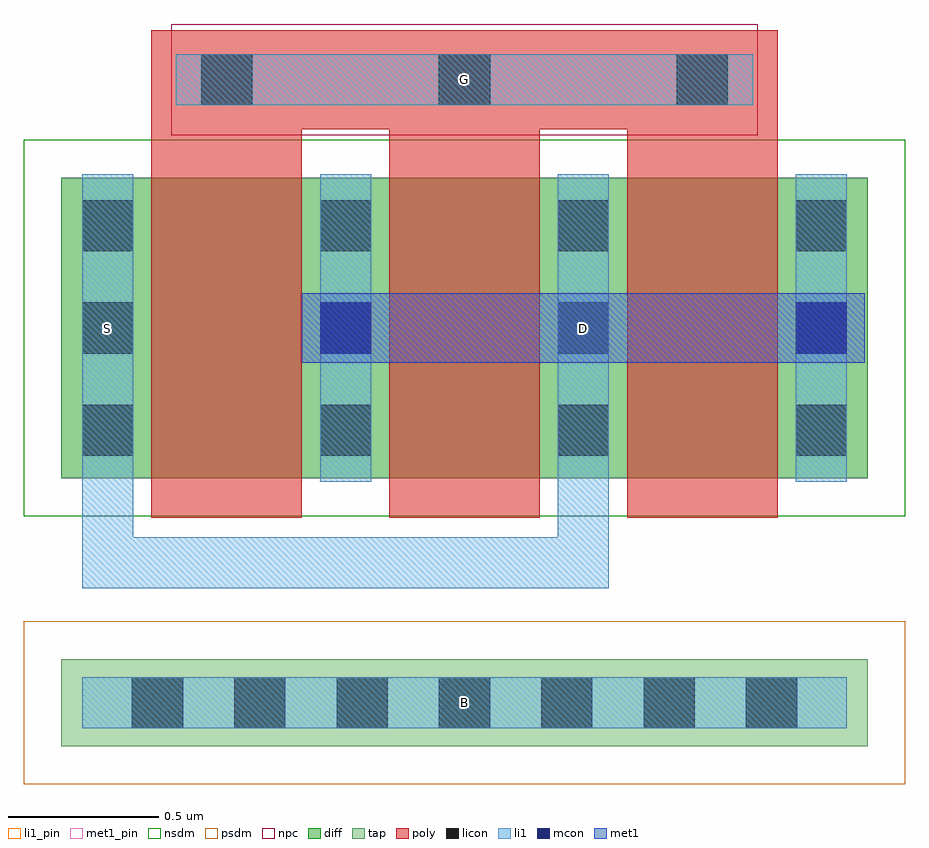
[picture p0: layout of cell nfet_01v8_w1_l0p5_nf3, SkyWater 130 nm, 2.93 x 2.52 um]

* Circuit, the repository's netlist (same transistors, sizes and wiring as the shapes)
.SUBCKT nfet_01v8_w1_l0p5_nf3 D G S B
M0 D G S B nfet_01v8 w=1 l=0.5
M1 D G S B nfet_01v8 w=1 l=0.5
M2 D G S B nfet_01v8 w=1 l=0.5
.ENDS

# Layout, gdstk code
import gdstk
lib = gdstk.Library(unit=1e-6, precision=1e-09)
def R(c, l, rs):  # rectangles x0, y0, x1, y1
    for r in rs: c.add(gdstk.rectangle(r[:2], r[2:], *l))
def A(c, l, x, y, w, h, nx, ny, dx, dy):  # array of equal rectangles
    R(c, l, [(x+i*dx, y+j*dy, x+i*dx+w, y+j*dy+h) for i in range(nx) for j in range(ny)])
diff = (65, 20)
tap = (65, 44)
poly = (66, 20)
licon = (66, 44)
li1_pin = (67, 16)
li1 = (67, 20)
mcon = (67, 44)
met1_pin = (68, 16)
met1 = (68, 20)
nsdm = (93, 44)
psdm = (94, 20)
npc = (95, 20)

nfet_01v8_w1_l0p5_nf3 = lib.new_cell('nfet_01v8_w1_l0p5_nf3')
R(nfet_01v8_w1_l0p5_nf3, diff, [(0,0,2.68,1)])
R(nfet_01v8_w1_l0p5_nf3, tap, [(0,-0.89,2.68,-0.6)])
A(nfet_01v8_w1_l0p5_nf3, poly, 0.3, -0.13, 0.5, 1.29, 3, 1, 0.79, 0)
R(nfet_01v8_w1_l0p5_nf3, poly, [(0.3,1.16,2.38,1.49)])
A(nfet_01v8_w1_l0p5_nf3, licon, 0.235, -0.83, 0.17, 0.17, 7, 1, 0.34, 0)
A(nfet_01v8_w1_l0p5_nf3, licon, 0.07, 0.075, 0.17, 0.17, 4, 3, 0.79, 0.34)
A(nfet_01v8_w1_l0p5_nf3, licon, 0.465, 1.24, 0.17, 0.17, 3, 1, 0.79, 0)
R(nfet_01v8_w1_l0p5_nf3, li1_pin, [(1.335,-0.75,1.345,-0.74), (0.15,0.495,0.16,0.505), (1.335,1.32,1.345,1.33)])
R(nfet_01v8_w1_l0p5_nf3, li1, [(0.07,-0.83,2.61,-0.66), (0.07,-0.365,1.82,-0.195), (0.07,-0.365,0.24,1.01), (1.65,-0.365,1.82,1.01), (0.86,-0.01,1.03,1.01), (2.44,-0.01,2.61,1.01), (0.38,1.24,2.3,1.41)])
R(nfet_01v8_w1_l0p5_nf3, mcon, [(0.86,0.415,1.03,0.585), (2.44,0.415,2.61,0.585)])
R(nfet_01v8_w1_l0p5_nf3, met1_pin, [(1.73,0.495,1.74,0.505)])
R(nfet_01v8_w1_l0p5_nf3, met1, [(0.8,0.385,2.67,0.615)])
R(nfet_01v8_w1_l0p5_nf3, nsdm, [(-0.125,-0.125,2.805,1.125)])
R(nfet_01v8_w1_l0p5_nf3, psdm, [(-0.125,-1.015,2.805,-0.475)])
R(nfet_01v8_w1_l0p5_nf3, npc, [(0.365,1.14,2.315,1.51)])
nfet_01v8_w1_l0p5_nf3.add(gdstk.Label('G', (1.34,1.325), layer=67, texttype=5))
nfet_01v8_w1_l0p5_nf3.add(gdstk.Label('B', (1.34,-0.745), layer=67, texttype=5))
nfet_01v8_w1_l0p5_nf3.add(gdstk.Label('S', (0.155,0.5), layer=67, texttype=5))
nfet_01v8_w1_l0p5_nf3.add(gdstk.Label('D', (1.735,0.5), layer=68, texttype=5))

lib.write_gds('nfet_01v8_w1_l0p5_nf3.gds')
